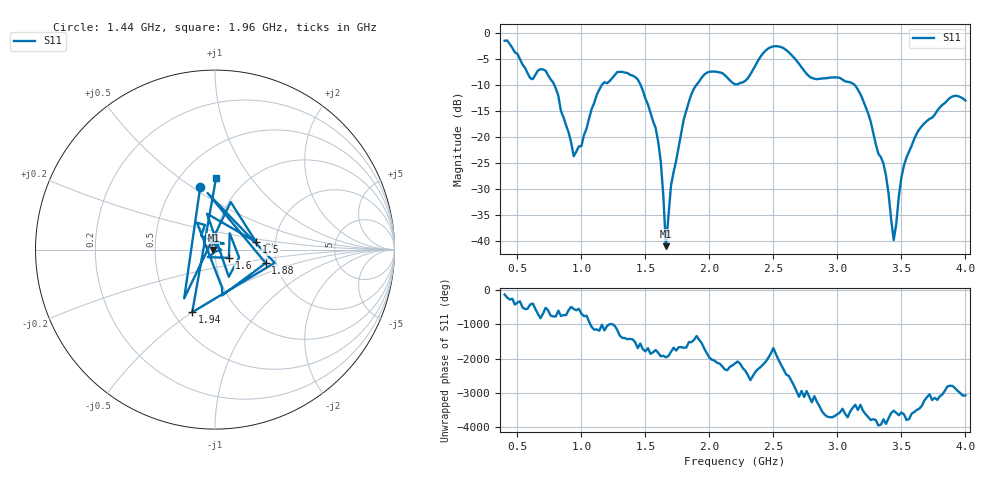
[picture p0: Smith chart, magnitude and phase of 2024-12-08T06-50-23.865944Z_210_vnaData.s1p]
!Created with skrf (http://scikit-rf.org).
# Hz S RI R 50.0
!freq ReS11 ImS11
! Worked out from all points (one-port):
!   181 points, 400 MHz to 4 GHz, reference 50 ohm
!   lowest |S11| = -41.0 dB at 1.66 GHz (marker M1), VSWR 1.02, Z = 49.1 - j0.234 ohm
!   |S11| at or under -10 dB: 787.9 MHz to 1.16 GHz (372.3 MHz wide, 38.2 % of centre); 1.462 GHz to 1.899 GHz (436.6 MHz wide, 26 % of centre); 3.133 GHz to end of sweep
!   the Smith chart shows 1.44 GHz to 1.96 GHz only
!   S11 on the Smith chart (normalised r, x): 1.44 GHz: 0.67, +0.54; 1.5 GHz: 1.59, +0.14; 1.6 GHz: 1.16, -0.11; 1.88 GHz: 1.76, -0.29; 1.94 GHz: 0.62, -0.50; 1.96 GHz: 0.73, +0.69
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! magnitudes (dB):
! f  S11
! 400 MHz  -1.5
! 600 MHz  -8.7
! 720 MHz  -7.3
! 860 MHz  -16.2
! 940 MHz  -23.7
! 1.14 GHz  -10.9
! 1.3 GHz  -7.5
! 1.44 GHz  -8.9
! 1.5 GHz  -12.6
! 1.6 GHz  -20.9
! 1.64 GHz  -31.3
! 1.66 GHz  -41.0
! 1.7 GHz  -29.3
! 1.76 GHz  -21.9
! 1.88 GHz  -10.7
! 1.94 GHz  -8.6
! 1.96 GHz  -8.0
! 2.2 GHz  -9.9
! 2.48 GHz  -2.7
! 2.66 GHz  -4.8
! 3.1 GHz  -9.5
! 3.2 GHz  -12.9
! 3.36 GHz  -25.1
! 3.44 GHz  -39.8
! 3.5 GHz  -27.8
! 3.56 GHz  -22.8
! 3.88 GHz  -12.5
! 4 GHz  -13.0
